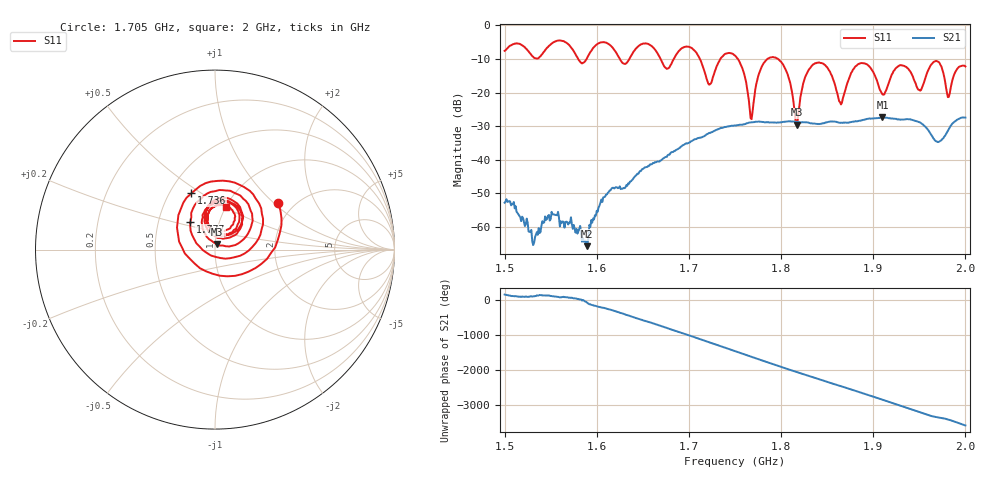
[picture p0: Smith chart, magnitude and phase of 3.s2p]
! NanoVNA-App by SYSJOINT et al v1.1.209 (+OD18)
! Date: 2026-01-21 14:40:12
! Start: 1,5GHz Stop: 2GHz Points: 501
! S-Parameter data: F S11 S21 S12 S22
# Hz S RI R 50
!  Frequency  S11_Real  S11_Imag  S21_Real  S21_Imag  S12_Real  S12_Imag  S22_Real  S22_Imag
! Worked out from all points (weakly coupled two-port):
!   501 points, 1.5 GHz to 2 GHz, reference 50 ohm
!   highest |S21| = -27.42 dB at 1.91 GHz (marker M1); lowest = -65.8 dB at 1.589 GHz (marker M2)
!   lowest |S11| = -29.6 dB at 1.817 GHz (marker M3), VSWR 1.07, Z = 51 + j3.19 ohm
!   |S11| at or under -10 dB: 1.712 GHz to 1.734 GHz (22.22 MHz wide, 1.29 % of centre); 1.753 GHz to 1.785 GHz (31.95 MHz wide, 1.81 % of centre); 1.797 GHz to end of sweep (the widest 3 of 6)
!   S12 and S22 are empty: the file has one direction only
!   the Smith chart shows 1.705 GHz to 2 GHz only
!   S11 on the Smith chart (normalised r, x): 1.705 GHz: 1.66, +1.06; 1.736 GHz: 0.64, +0.46; 1.777 GHz: 0.73, +0.23; 2 GHz: 1.01, +0.51
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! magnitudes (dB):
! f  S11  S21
! 1.5 GHz  -7.6  -52.9
! 1.532 GHz  -9.7  -64.8
! 1.553 GHz  -5.0  -56.4
! 1.584 GHz  -11.3  -64.5
! 1.589 GHz  -10.0  -65.8
! 1.612 GHz  -5.4  -49.9
! 1.667 GHz  -8.8  -40.6
! 1.705 GHz  -7.2  -34.1
! 1.722 GHz  -17.7  -32.0
! 1.736 GHz  -9.4  -30.6
! 1.75 GHz  -9.0  -29.8
! 1.768 GHz  -27.9  -28.9
! 1.777 GHz  -13.7  -28.7
! 1.8 GHz  -10.8  -28.9
! 1.817 GHz  -29.6  -28.8
! 1.834 GHz  -11.9  -29.3
! 1.864 GHz  -22.9  -29.1
! 1.886 GHz  -11.3  -28.4
! 1.91 GHz  -20.6  -27.4
! 1.917 GHz  -16.9  -27.7
! 1.982 GHz  -21.3  -30.9
! 2 GHz  -12.2  -27.5
